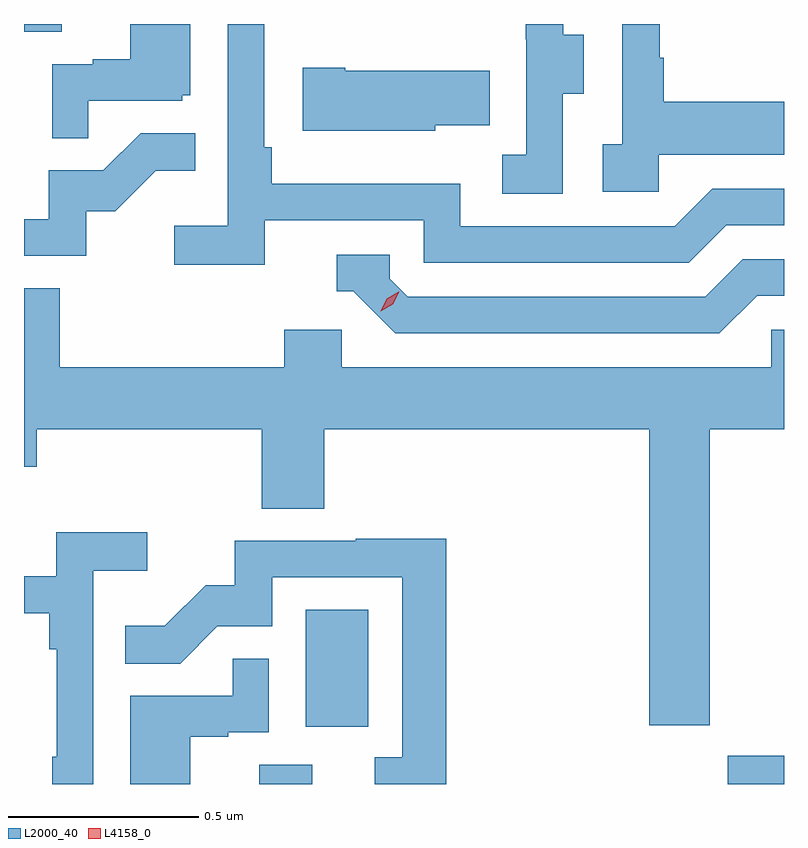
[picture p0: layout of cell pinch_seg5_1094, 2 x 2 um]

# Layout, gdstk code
import gdstk
lib = gdstk.Library(unit=1e-6, precision=1e-09)
def R(c, l, rs):  # rectangles x0, y0, x1, y1
    for r in rs: c.add(gdstk.rectangle(r[:2], r[2:], *l))
def P(c, l, *ps):  # polygons
    for p in ps: c.add(gdstk.Polygon(p, *l))
L2000_40 = (2000, 40)
L4158_0 = (4158, 0)

pinch_seg5_1094 = lib.new_cell('pinch_seg5_1094')
R(pinch_seg5_1094, L2000_40, [(869.201,865.151,869.341,865.202), (870.434,865.151,870.582,865.225), (869.324,865.302,869.488,865.609), (868.582,867.13,868.681,867.151)])
P(pinch_seg5_1094, L2000_40, [(870,866.968),(870.055,866.968),(870.055,867.123),(870.001,867.123),(870.001,867.151),(869.903,867.151),(869.903,867.111),(869.904,867.111),(869.904,866.807),(869.841,866.807),(869.841,866.704),(870,866.704)],
  [(868.751,866.949),(868.998,866.949),(868.998,866.964),(869.02,866.964),(869.02,867.151),(868.862,867.151),(868.862,867.058),(868.763,867.058),(868.763,867.045),(868.656,867.045),(868.656,866.851),(868.751,866.851)],
  [(870.252,866.807),(870.582,866.807),(870.582,866.947),(870.265,866.947),(870.265,867.062),(870.255,867.062),(870.255,867.151),(870.156,867.151),(870.156,866.834),(870.105,866.834),(870.105,866.709),(870.252,866.709)],
  [(869.216,866.634),(869.634,866.634),(869.634,866.523),(870.331,866.523),(870.43,866.622),(870.582,866.622),(870.582,866.718),(870.393,866.718),(870.294,866.619),(869.73,866.619),(869.73,866.731),(869.234,866.731),(869.234,866.827),(869.214,866.827),(869.214,867.151),(869.118,867.151),(869.118,866.62),(868.977,866.62),(868.977,866.518),(869.216,866.518)],
  [(869.664,866.885),(869.807,866.885),(869.807,867.028),(869.428,867.028),(869.428,867.036),(869.316,867.036),(869.316,866.87),(869.664,866.87)],
  [(868.746,866.658),(868.822,866.658),(868.929,866.765),(869.033,866.765),(869.033,866.864),(868.889,866.864),(868.791,866.766),(868.647,866.766),(868.647,866.637),(868.582,866.637),(868.582,866.541),(868.746,866.541)],
  [(870.511,866.436),(870.582,866.436),(870.582,866.532),(870.474,866.532),(870.375,866.433),(869.592,866.433),(869.544,866.481),(869.544,866.544),(869.405,866.544),(869.405,866.448),(869.448,866.448),(869.559,866.337),(870.412,866.337)],
  [(870.387,866.084),(870.582,866.084),(870.582,866.346),(870.549,866.346),(870.549,866.248),(869.418,866.248),(869.418,866.346),(869.267,866.346),(869.267,866.248),(868.676,866.248),(868.676,866.456),(868.582,866.456),(868.582,865.986),(868.616,865.986),(868.616,866.084),(869.207,866.084),(869.207,865.876),(869.372,865.876),(869.372,866.084),(870.227,866.084),(870.227,865.305),(870.387,865.305)],
  [(868.764,865.712),(868.906,865.712),(868.906,865.814),(868.667,865.814),(868.667,865.698),(868.582,865.698),(868.582,865.601),(868.648,865.601),(868.648,865.505),(868.668,865.505),(868.668,865.223),(868.656,865.223),(868.656,865.151),(868.764,865.151)],
  [(869.693,865.796),(869.455,865.796),(869.455,865.791),(869.137,865.791),(869.137,865.674),(869.06,865.674),(868.953,865.567),(868.849,865.567),(868.849,865.468),(868.993,865.468),(869.091,865.566),(869.235,865.566),(869.235,865.695),(869.577,865.695),(869.577,865.221),(869.505,865.221),(869.505,865.151),(869.693,865.151)],
  [(869.02,865.275),(869.12,865.275),(869.12,865.287),(869.226,865.287),(869.226,865.481),(869.131,865.481),(869.131,865.383),(868.862,865.383),(868.862,865.151),(869.02,865.151)])
P(pinch_seg5_1094, L4158_0, [(869.521,866.395),(869.521,866.395),(869.537,866.428),(869.568,866.446),(869.569,866.446),(869.569,866.446),(869.552,866.414),(869.521,866.395)])

lib.write_gds('pinch_seg5_1094.gds')
